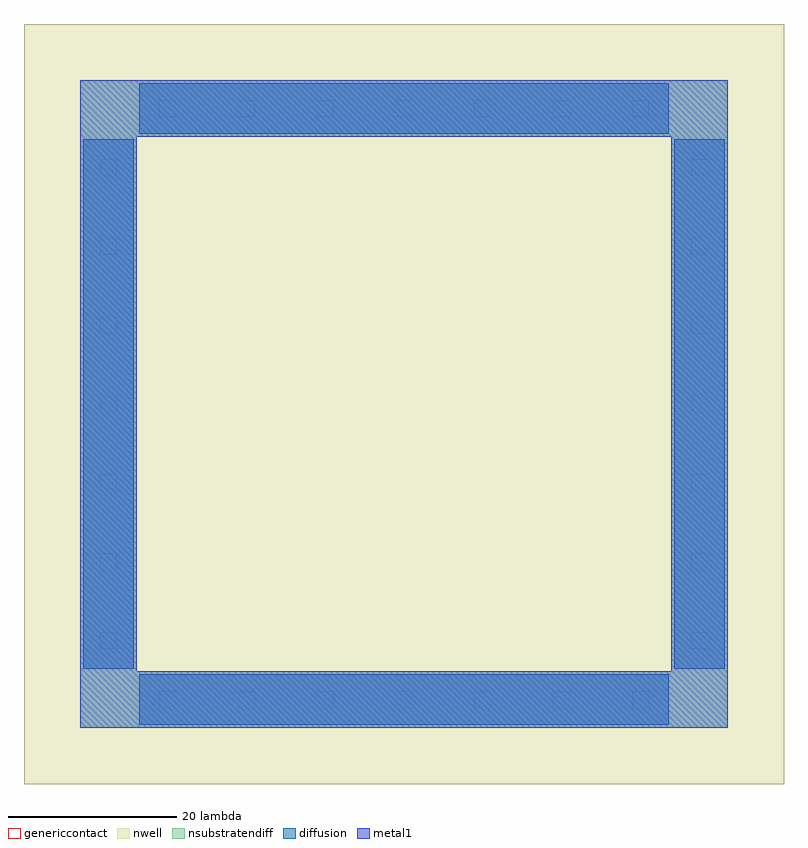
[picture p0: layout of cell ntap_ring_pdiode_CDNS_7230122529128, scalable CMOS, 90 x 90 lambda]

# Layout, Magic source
magic
tech scmos
magscale 1 3
<< nwell >>
rect 0 0 270 270
<< nsubstratendiff >>
rect 20 230 250 250
rect 20 40 40 230
rect 230 40 250 230
rect 20 20 250 40
<< metal1 >>
rect 20 230 250 250
rect 20 40 40 230
rect 230 40 250 230
rect 20 20 250 40
use ntap_CDNS_723012252911  ntap_CDNS_723012252911_0
transform 1 0 226 0 1 36
box 4 4 24 194
use ntap_CDNS_723012252911  ntap_CDNS_723012252911_1
transform 1 0 16 0 1 36
box 4 4 24 194
use ntap_CDNS_7230122529129  ntap_CDNS_7230122529129_0
transform 1 0 36 0 1 226
box 4 4 194 24
use ntap_CDNS_7230122529129  ntap_CDNS_7230122529129_1
transform 1 0 36 0 1 16
box 4 4 194 24
<< end >>

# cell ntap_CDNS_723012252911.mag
magic
tech scmos
magscale 1 3
<< diffusion >>
rect 5 5 23 193
<< genericcontact >>
rect 11 180 17 186
rect 11 152 17 158
rect 11 124 17 130
rect 11 96 17 102
rect 11 68 17 74
rect 11 40 17 46
rect 11 12 17 18
<< metal1 >>
rect 4 4 24 194
<< end >>

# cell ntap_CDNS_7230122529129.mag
magic
tech scmos
magscale 1 3
<< diffusion >>
rect 5 5 193 23
<< genericcontact >>
rect 12 11 18 17
rect 40 11 46 17
rect 68 11 74 17
rect 96 11 102 17
rect 124 11 130 17
rect 152 11 158 17
rect 180 11 186 17
<< metal1 >>
rect 4 4 194 24
<< end >>
